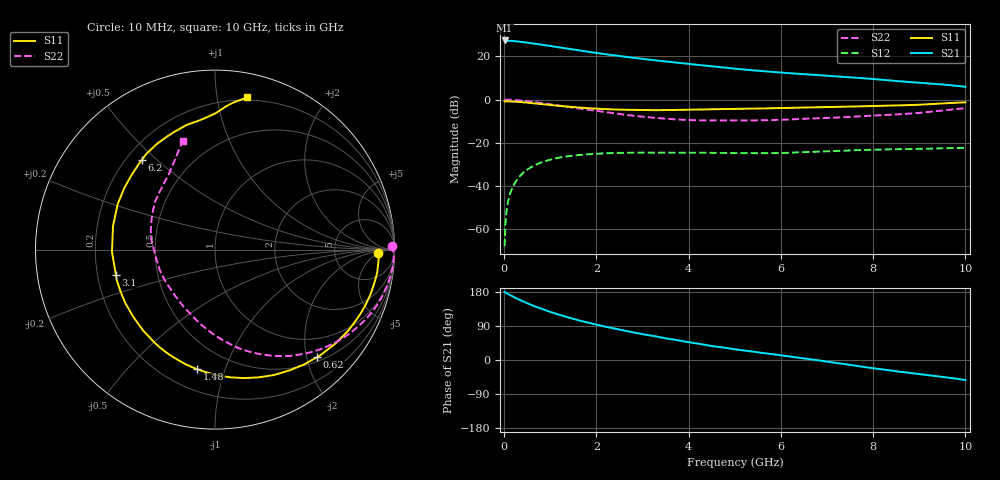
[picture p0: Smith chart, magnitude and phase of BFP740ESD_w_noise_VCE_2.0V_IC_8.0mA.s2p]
! Infineon Technologies  Discrete & RF Semiconductors
! BFP740ESD
! VCE =  2.0 V,  IC =  8.0 mA
! Common Emitter S-Parameters:  Jan 2016
# GHz  S  MA  R  50
!  f  S11  S21  S12  S22
! GHz  MAG  ANG  MAG  ANG  MAG  ANG  MAG  ANG
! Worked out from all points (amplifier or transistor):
!   233 points, 10 MHz to 10 GHz, reference 50 ohm
!   highest |S21| = 27.4 dB at 10 MHz (marker M1)
!   |S21| within 3 dB of that: start of sweep to 1.13 GHz
!   unconditionally stable (mu >= 1): 5.349 GHz to 9.223 GHz
!   at 200 MHz: K = 0.07, MSG = 33.6 dB, |S12| = -39.9 dB
!   at 1.74 GHz: K = 0.35, MSG = 24.0 dB, |S12| = -25.5 dB
!   at 10 GHz: K = 0.74, MSG = 14.2 dB, |S12| = -22.3 dB
!   lowest NFmin = 0.57 dB at 450 MHz
!   S11 on the Smith chart (normalised r, x): 10 MHz: 20, -4; 620 MHz: 0.58, -2.20; 1.48 GHz: 0.33, -0.81; 3.1 GHz: 0.28, -0.12; 6.2 GHz: 0.26, +0.45; 10 GHz: 0.18, +1.22
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0.01  0.9099 -1.1  23.54 180.0  0.0004 121.1  0.9871 1.3
0.02  0.9149 -1.7  23.18 178.7  0.0009 93.1  0.9965 -1.1
0.08  0.9123 -6.5  23.22 174.6  0.0041 85.5  0.9954 -4.4
0.2  0.9016 -16.0  22.88 166.9  0.0101 80.1  0.983 -10.9
0.3  0.8862 -23.6  22.3 160.7  0.0149 75.7  0.9654 -16.1
0.44  0.8612 -33.9  21.34 152.9  0.0213 69.7  0.9343 -23.0
0.62  0.8259 -46.5  20.09 143.7  0.0285 62.4  0.8871 -31.3
0.8  0.7905 -58.4  18.83 135.4  0.0348 55.9  0.838 -39.0
1  0.7521 -71.2  17.51 126.9  0.0406 49.2  0.7814 -47.1
1.2  0.7169 -83.1  16.24 119.0  0.0453 43.3  0.7271 -54.5
1.48  0.6739 -98.4  14.59 109.2  0.0502 36.1  0.6558 -63.8
1.68  0.6491 -108.3  13.55 102.6  0.0527 31.7  0.6113 -69.8
2  0.6181 -123.0  12.09 93.3  0.0557 25.8  0.5488 -78.6
2.4  0.5905 -140.1  10.59 82.5  0.0581 19.4  0.4796 -89.7
3.1  0.5698 -165.7  8.557 66.3  0.0592 11.4  0.3924 -108.4
3.4  0.5703 -175.4  7.875 59.7  0.0593 8.8  0.3683 -116.5
4  0.5832 167.0  6.759 46.9  0.0592 4.6  0.3366 -133.5
5.1  0.6121 144.6  5.105 26.7  0.0575 0.6  0.3277 -161.1
6.2  0.6444 129.4  4.093 9.1  0.0588 0.6  0.3476 176.0
6.8  0.6651 121.3  3.699 -0.7  0.0618 0.1  0.3687 165.4
8.4  0.7247 97.0  2.76 -28.1  0.0702 -7.1  0.447 133.4
10  0.8661 78.1  1.991 -52.8  0.0763 -14.9  0.6335 106.4
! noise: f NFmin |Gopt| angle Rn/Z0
0.45  0.57  0.28  4  0.13
0.9  0.6  0.28  15  0.1
1.9  0.62  0.25  24  0.09
2.4  0.67  0.19  44  0.12
5.5  0.89  0.23  -151  0.13
10  1.72  0.58  -92  0.5
